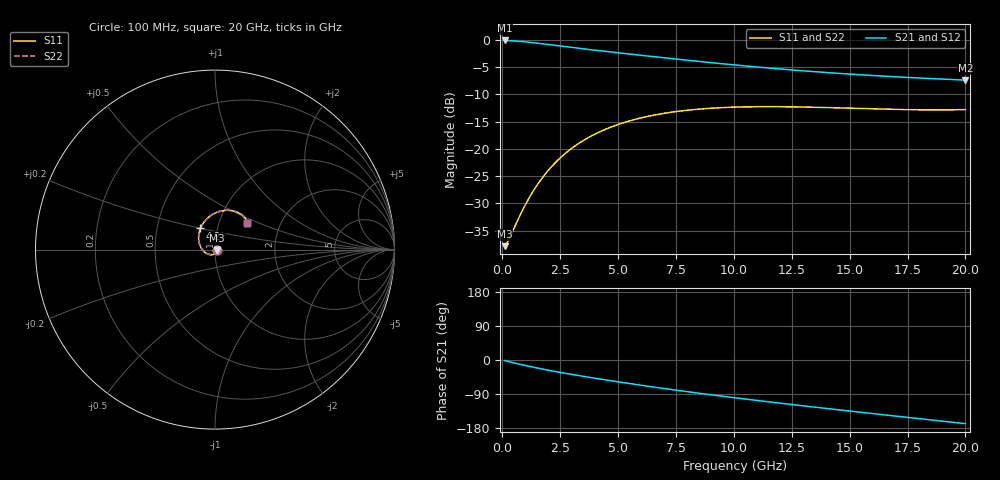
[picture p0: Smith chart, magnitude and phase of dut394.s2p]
! Touchstone file exported from HFSS 2024.1.0
!  File:  C:/UserFiles/LocalFiles/RDL_TSV_Batchsim/temp_RDL_TSV_394_1779648210.aedt
!  Generated:  02:56:41 AM May 25, 2026
!  Design:  RDL_TSV
!  Project:  temp_RDL_TSV_394_1779648210
!  Setup:  Setup1
!  Solution:  Sweep
! Variables:
!  dtsv = 10.74um
!  hbump = 3um
!  htsv = 70.03um
!  ldown = 232.53um
!  lrdl = 421.2um
!  p = 40
!  p1 = 44.99um
!  rhole = 10um
!  subl = 2382.39um
!  t = 450um
!  tdown = 3.65um
!  trdl = 2.36um
!  viad = 10um
!  wdown = 28.51um
!  wrdl = 27.42um
!  xbump = 18um
# GHz S MA R 50.000000
! Terminal data exported
! Port[1] = TM1_1_T1
! Port[2] = TM1_4_T1
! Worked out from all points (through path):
!   200 points, 100 MHz to 20 GHz, reference 50 ohm
!   highest |S21| = -0.11 dB at 100 MHz (marker M1); lowest = -7.4 dB at 20 GHz (marker M2)
!   group delay of S21, straight-line fit = 22.1 ps
!   lowest |S11| = -37.8 dB at 100 MHz (marker M3), VSWR 1.03, Z = 51.3 - j0.313 ohm
!   |S11| at or under -10 dB: start of sweep to end of sweep
!   |S22| runs from -37.8 to -12.2 dB; largest |S21 - S12| = 1.8e-14
!   S11 on the Smith chart (normalised r, x): 100 MHz: 1.03, -0.01; 4.2 GHz: 0.83, +0.20; 20 GHz: 1.35, +0.42
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0.1  0.01284 -13.8  0.9869 -1.5  0.9869 -1.5  0.01283 -13.8
! Gamma 0 0 0 0
! Port Impedance 50 0 50 0
0.2  0.01373 -27.7  0.9854 -3.1  0.9854 -3.1  0.01372 -27.7
0.3  0.01505 -41.4  0.9833 -4.6  0.9833 -4.6  0.01504 -41.4
0.8  0.02549 -97.8  0.967 -11.8  0.967 -11.8  0.02548 -97.9
1.1  0.0338 -122.2  0.9536 -15.8  0.9536 -15.8  0.0338 -122.3
1.4  0.04319 -141.9  0.9383 -19.8  0.9383 -19.8  0.04322 -142.1
1.7  0.05338 -158.3  0.922 -23.5  0.922 -23.5  0.05346 -158.5
2.1  0.0678 -176.5  0.8997 -28.2  0.8997 -28.2  0.06795 -176.7
2.5  0.08267 168.4  0.8778 -32.7  0.8778 -32.7  0.08292 168.2
3  0.1013 152.7  0.8516 -38.1  0.8516 -38.1  0.1017 152.5
3.5  0.1194 139.6  0.8269 -43.2  0.8269 -43.2  0.1199 139.5
4.2  0.1432 124.4  0.7948 -50.0  0.7948 -50.0  0.1439 124.3
5.4  0.1783 104.1  0.7445 -61.3  0.7445 -61.3  0.1792 104.1
6.8  0.2088 86.4  0.6913 -73.7  0.6913 -73.7  0.21 86.3
8.4  0.2308 71.1  0.6368 -86.9  0.6368 -86.9  0.2323 71.1
10.1  0.2418 59.1  0.5867 -100.1  0.5867 -100.1  0.2436 59.1
11.7  0.2441 50.8  0.5469 -111.9  0.5469 -111.9  0.2461 50.8
13.4  0.2411 44.7  0.512 -123.8  0.512 -123.8  0.2433 44.7
15  0.236 41.1  0.4851 -134.7  0.4851 -134.7  0.2383 41.0
16.7  0.2308 39.3  0.4617 -146.1  0.4617 -146.1  0.2331 39.2
18.3  0.2281 39.1  0.4434 -156.8  0.4434 -156.8  0.2303 38.9
20  0.2293 39.9  0.4271 -168.0  0.4271 -168.0  0.2314 39.7
